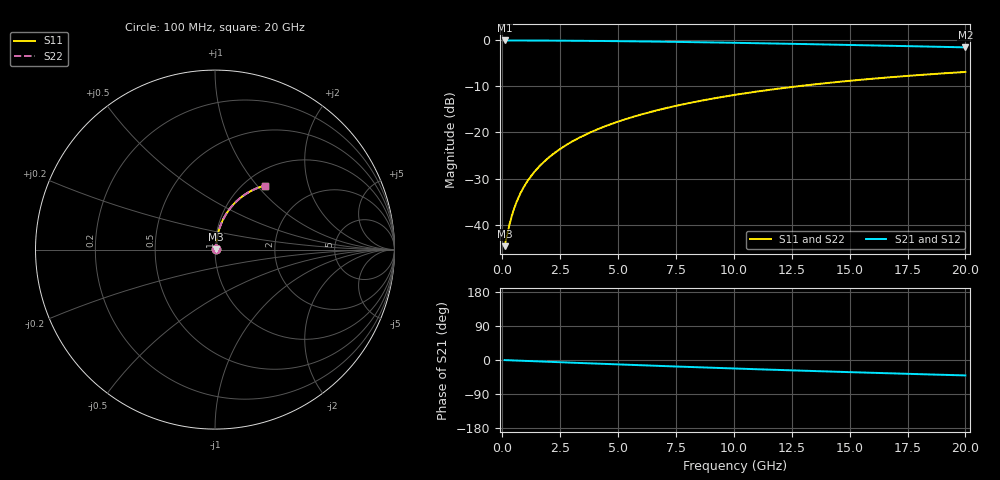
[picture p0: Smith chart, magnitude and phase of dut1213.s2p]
! Touchstone file exported from HFSS 2024.1.0
!  File:  C:/UserFiles/LocalFiles/RDL_TSV_Batchsim/temp_RDL_bottom_1213_1780243796.aedt
!  Generated:  12:12:29 AM Jun  1, 2026
!  Design:  RDL_bottom
!  Project:  temp_RDL_bottom_1213_1780243796
!  Setup:  Setup1
!  Solution:  Sweep
! Variables:
!  dtsv = 10.80580581um
!  hbump = 3um
!  htsv = 75.7um
!  ldown = 535.56um
!  lrdl = 100um
!  p = 40
!  p1 = 43.03um
!  rhole = 1um
!  t = 450um
!  tdown = 3.11um
!  trdl = 3.915915916um
!  wdown = 11.98um
!  wrdl = 20um
# GHz S MA R 50.000000
! Terminal data exported
! Port[1] = RDL1_T1
! Port[2] = RDL1_T2
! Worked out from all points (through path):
!   200 points, 100 MHz to 20 GHz, reference 50 ohm
!   highest |S21| = -0.04 dB at 100 MHz (marker M1); lowest = -1.5 dB at 20 GHz (marker M2)
!   group delay of S21, straight-line fit = 5.66 ps
!   lowest |S11| = -44.7 dB at 100 MHz (marker M3), VSWR 1.01, Z = 50.5 + j0.278 ohm
!   |S11| at or under -10 dB: start of sweep to 12.73 GHz
!   |S22| runs from -44.7 to -6.9 dB; largest |S21 - S12| = 2.7e-15
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0.1  0.005853 28.0  0.9948 -0.2  0.9948 -0.2  0.005853 28.0
! Gamma 0 0 0 0
! Port Impedance 50 0 50 0
0.3  0.009801 56.8  0.9947 -0.7  0.9947 -0.7  0.009802 56.8
0.4  0.0122 63.1  0.9945 -1.0  0.9945 -1.0  0.0122 63.1
0.5  0.01469 67.2  0.9944 -1.2  0.9944 -1.2  0.01469 67.2
0.6  0.01721 70.1  0.9942 -1.4  0.9942 -1.4  0.01721 70.1
0.7  0.01976 72.1  0.994 -1.7  0.994 -1.7  0.01976 72.1
0.9  0.02487 74.9  0.9937 -2.2  0.9937 -2.2  0.02487 74.9
1.2  0.03258 77.3  0.9931 -2.9  0.9931 -2.9  0.03258 77.3
1.4  0.03775 78.3  0.9927 -3.3  0.9927 -3.3  0.03775 78.3
1.7  0.04552 79.2  0.9921 -4.0  0.9921 -4.0  0.04552 79.2
2.2  0.05852 79.8  0.9907 -5.2  0.9907 -5.2  0.05852 79.8
2.8  0.07414 79.9  0.9887 -6.6  0.9887 -6.6  0.07414 79.9
3.5  0.09235 79.5  0.9858 -8.2  0.9858 -8.2  0.09234 79.4
4.2  0.1105 78.7  0.9824 -9.8  0.9824 -9.8  0.1105 78.7
5  0.1311 77.6  0.9779 -11.6  0.9779 -11.6  0.1311 77.6
5.9  0.1542 76.3  0.9722 -13.7  0.9722 -13.7  0.1542 76.3
6.8  0.1769 74.8  0.9657 -15.6  0.9657 -15.6  0.1769 74.8
8.3  0.2141 72.2  0.9538 -18.9  0.9538 -18.9  0.2141 72.2
10.1  0.2571 69.0  0.9379 -22.6  0.9379 -22.6  0.2571 68.9
13.4  0.3306 63.0  0.9058 -29.1  0.9058 -29.1  0.3306 63.0
16.7  0.3961 57.3  0.8717 -35.1  0.8717 -35.1  0.396 57.3
20  0.4532 52.0  0.8374 -40.7  0.8374 -40.7  0.4531 51.9
